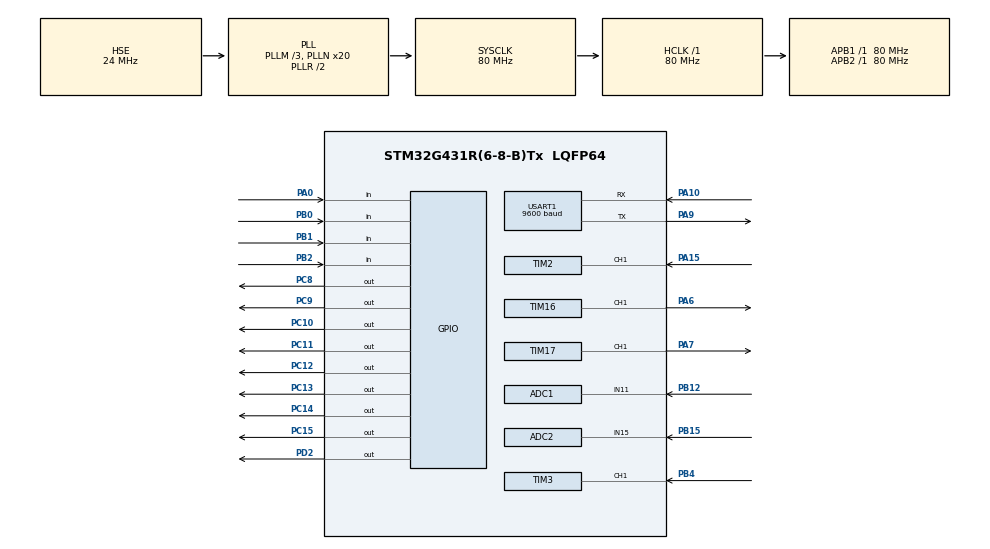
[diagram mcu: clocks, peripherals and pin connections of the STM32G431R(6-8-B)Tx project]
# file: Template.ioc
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ADC1.Channel-0\#ChannelRegularConversion=ADC_CHANNEL_11
ADC1.ClockPrescaler=ADC_CLOCK_SYNC_PCLK_DIV4
ADC1.ContinuousConvMode=ENABLE
ADC1.DMAContinuousRequests=ENABLE
ADC1.NbrOfConversionFlag=1
ADC1.OffsetNumber-0\#ChannelRegularConversion=ADC_OFFSET_NONE
ADC1.Rank-0\#ChannelRegularConversion=1
ADC1.SamplingTime-0\#ChannelRegularConversion=ADC_SAMPLETIME_2CYCLES_5
ADC1.master=1
ADC2.Channel-0\#ChannelRegularConversion=ADC_CHANNEL_15
ADC2.ClockPrescaler=ADC_CLOCK_SYNC_PCLK_DIV4
ADC2.ContinuousConvMode=ENABLE
ADC2.DMAContinuousRequests=ENABLE
ADC2.NbrOfConversionFlag=1
ADC2.OffsetNumber-0\#ChannelRegularConversion=ADC_OFFSET_NONE
ADC2.Rank-0\#ChannelRegularConversion=1
ADC2.SamplingTime-0\#ChannelRegularConversion=ADC_SAMPLETIME_2CYCLES_5
Dma.ADC1.0.Direction=DMA_PERIPH_TO_MEMORY
Dma.ADC1.0.EventEnable=DISABLE
Dma.ADC1.0.Instance=DMA1_Channel2
Dma.ADC1.0.MemDataAlignment=DMA_MDATAALIGN_WORD
Dma.ADC1.0.MemInc=DMA_MINC_ENABLE
Dma.ADC1.0.Mode=DMA_CIRCULAR
Dma.ADC1.0.PeriphDataAlignment=DMA_PDATAALIGN_WORD
Dma.ADC1.0.PeriphInc=DMA_PINC_DISABLE
Dma.ADC1.0.Polarity=HAL_DMAMUX_REQ_GEN_RISING
Dma.ADC1.0.Priority=DMA_PRIORITY_MEDIUM
Dma.ADC1.0.RequestNumber=1
Dma.ADC1.0.SignalID=NONE
Dma.ADC1.0.SyncEnable=DISABLE
Dma.ADC1.0.SyncPolarity=HAL_DMAMUX_SYNC_NO_EVENT
Dma.ADC1.0.SyncRequestNumber=1
Dma.ADC1.0.SyncSignalID=NONE
Dma.ADC2.1.Direction=DMA_PERIPH_TO_MEMORY
Dma.ADC2.1.EventEnable=DISABLE
Dma.ADC2.1.Instance=DMA1_Channel3
Dma.ADC2.1.MemDataAlignment=DMA_MDATAALIGN_WORD
Dma.ADC2.1.MemInc=DMA_MINC_ENABLE
Dma.ADC2.1.Mode=DMA_CIRCULAR
Dma.ADC2.1.PeriphDataAlignment=DMA_PDATAALIGN_WORD
Dma.ADC2.1.PeriphInc=DMA_PINC_DISABLE
Dma.ADC2.1.Polarity=HAL_DMAMUX_REQ_GEN_RISING
Dma.ADC2.1.Priority=DMA_PRIORITY_MEDIUM
Dma.ADC2.1.RequestNumber=1
Dma.ADC2.1.SignalID=NONE
Dma.ADC2.1.SyncEnable=DISABLE
Dma.ADC2.1.SyncPolarity=HAL_DMAMUX_SYNC_NO_EVENT
Dma.ADC2.1.SyncRequestNumber=1
Dma.ADC2.1.SyncSignalID=NONE
Dma.Request0=ADC1
Dma.Request1=ADC2
Dma.Request2=USART1_RX
Dma.Request3=TIM3_CH1
Dma.Request4=TIM2_CH1
Dma.TIM2_CH1.4.Direction=DMA_PERIPH_TO_MEMORY
Dma.TIM2_CH1.4.EventEnable=DISABLE
Dma.TIM2_CH1.4.Instance=DMA1_Channel5
Dma.TIM2_CH1.4.MemDataAlignment=DMA_MDATAALIGN_WORD
Dma.TIM2_CH1.4.MemInc=DMA_MINC_ENABLE
Dma.TIM2_CH1.4.Mode=DMA_CIRCULAR
Dma.TIM2_CH1.4.PeriphDataAlignment=DMA_PDATAALIGN_WORD
Dma.TIM2_CH1.4.PeriphInc=DMA_PINC_DISABLE
Dma.TIM2_CH1.4.Polarity=HAL_DMAMUX_REQ_GEN_RISING
Dma.TIM2_CH1.4.Priority=DMA_PRIORITY_LOW
Dma.TIM2_CH1.4.RequestNumber=1
Dma.TIM2_CH1.4.SignalID=NONE
Dma.TIM2_CH1.4.SyncEnable=DISABLE
Dma.TIM2_CH1.4.SyncPolarity=HAL_DMAMUX_SYNC_NO_EVENT
Dma.TIM2_CH1.4.SyncRequestNumber=1
Dma.TIM2_CH1.4.SyncSignalID=NONE
Dma.TIM3_CH1.3.Direction=DMA_PERIPH_TO_MEMORY
Dma.TIM3_CH1.3.EventEnable=DISABLE
Dma.TIM3_CH1.3.Instance=DMA1_Channel4
Dma.TIM3_CH1.3.MemDataAlignment=DMA_MDATAALIGN_WORD
Dma.TIM3_CH1.3.MemInc=DMA_MINC_ENABLE
Dma.TIM3_CH1.3.Mode=DMA_CIRCULAR
Dma.TIM3_CH1.3.PeriphDataAlignment=DMA_PDATAALIGN_WORD
Dma.TIM3_CH1.3.PeriphInc=DMA_PINC_DISABLE
Dma.TIM3_CH1.3.Polarity=HAL_DMAMUX_REQ_GEN_RISING
Dma.TIM3_CH1.3.Priority=DMA_PRIORITY_LOW
Dma.TIM3_CH1.3.RequestNumber=1
Dma.TIM3_CH1.3.SignalID=NONE
Dma.TIM3_CH1.3.SyncEnable=DISABLE
Dma.TIM3_CH1.3.SyncPolarity=HAL_DMAMUX_SYNC_NO_EVENT
Dma.TIM3_CH1.3.SyncRequestNumber=1
Dma.TIM3_CH1.3.SyncSignalID=NONE
Dma.USART1_RX.2.Direction=DMA_PERIPH_TO_MEMORY
Dma.USART1_RX.2.EventEnable=DISABLE
Dma.USART1_RX.2.Instance=DMA1_Channel1
Dma.USART1_RX.2.MemDataAlignment=DMA_MDATAALIGN_BYTE
Dma.USART1_RX.2.MemInc=DMA_MINC_ENABLE
Dma.USART1_RX.2.Mode=DMA_NORMAL
Dma.USART1_RX.2.PeriphDataAlignment=DMA_PDATAALIGN_BYTE
Dma.USART1_RX.2.PeriphInc=DMA_PINC_DISABLE
Dma.USART1_RX.2.Polarity=HAL_DMAMUX_REQ_GEN_RISING
Dma.USART1_RX.2.Priority=DMA_PRIORITY_HIGH
Dma.USART1_RX.2.RequestNumber=1
Dma.USART1_RX.2.SignalID=NONE
Dma.USART1_RX.2.SyncEnable=DISABLE
Dma.USART1_RX.2.SyncPolarity=HAL_DMAMUX_SYNC_NO_EVENT
Dma.USART1_RX.2.SyncRequestNumber=1
Dma.USART1_RX.2.SyncSignalID=NONE
Mcu.Family=STM32G4
Mcu.Name=STM32G431R(6-8-B)Tx
Mcu.Package=LQFP64
NVIC.DMA1_Channel1_IRQn=true\:0\:0\:false\:false\:true\:false\:true\:true
NVIC.DMA1_Channel2_IRQn=true\:0\:0\:false\:false\:true\:false\:true\:true
NVIC.DMA1_Channel3_IRQn=true\:0\:0\:false\:false\:true\:false\:true\:true
NVIC.DMA1_Channel4_IRQn=true\:0\:0\:false\:false\:true\:false\:true\:true
NVIC.DMA1_Channel5_IRQn=true\:0\:0\:false\:false\:true\:false\:true\:true
NVIC.PriorityGroup=NVIC_PRIORITYGROUP_4
NVIC.USART1_IRQn=true\:0\:0\:false\:false\:true\:true\:true\:true
PA0.GPIO_PuPd=GPIO_PULLUP
PA0.Signal=GPIO_Input
PA10.Mode=Asynchronous
PA10.Signal=USART1_RX
PA13.Mode=Serial_Wire
PA13.Signal=SYS_JTMS-SWDIO
PA14.Mode=Serial_Wire
PA14.Signal=SYS_JTCK-SWCLK
PA15.Signal=S_TIM2_CH1
PA6.Signal=S_TIM16_CH1
PA7.Signal=S_TIM17_CH1
PA9.Mode=Asynchronous
PA9.Signal=USART1_TX
PB0.GPIO_PuPd=GPIO_PULLUP
PB0.Signal=GPIO_Input
PB1.GPIO_PuPd=GPIO_PULLUP
PB1.Signal=GPIO_Input
PB12.Mode=IN11-Single-Ended
PB12.Signal=ADC1_IN11
PB15.Mode=IN15-Single-Ended
PB15.Signal=ADC2_IN15
PB2.GPIO_PuPd=GPIO_PULLUP
PB2.Signal=GPIO_Input
PB4.Signal=S_TIM3_CH1
PC10.GPIO_Speed=GPIO_SPEED_FREQ_LOW
PC10.PinState=GPIO_PIN_SET
PC10.Signal=GPIO_Output
PC11.GPIO_Speed=GPIO_SPEED_FREQ_LOW
PC11.PinState=GPIO_PIN_SET
PC11.Signal=GPIO_Output
PC12.GPIO_Speed=GPIO_SPEED_FREQ_LOW
PC12.PinState=GPIO_PIN_SET
PC12.Signal=GPIO_Output
PC13.PinState=GPIO_PIN_SET
PC13.Signal=GPIO_Output
PC14-OSC32_IN.PinState=GPIO_PIN_SET
PC14-OSC32_IN.Signal=GPIO_Output
PC15-OSC32_OUT.PinState=GPIO_PIN_SET
PC15-OSC32_OUT.Signal=GPIO_Output
PC8.GPIO_Speed=GPIO_SPEED_FREQ_LOW
PC8.PinState=GPIO_PIN_SET
PC8.Signal=GPIO_Output
PC9.GPIO_Speed=GPIO_SPEED_FREQ_LOW
PC9.PinState=GPIO_PIN_SET
PC9.Signal=GPIO_Output
PD2.PinState=GPIO_PIN_RESET
PD2.Signal=GPIO_Output
PF0-OSC_IN.Mode=HSE-External-Oscillator
PF0-OSC_IN.Signal=RCC_OSC_IN
PF1-OSC_OUT.Mode=HSE-External-Oscillator
PF1-OSC_OUT.Signal=RCC_OSC_OUT
ProjectManager.HeapSize=0x200
ProjectManager.StackSize=0x400
ProjectManager.TargetToolchain=MDK-ARM V5
RCC.ADC12Freq_Value=80000000
RCC.AHBFreq_Value=80000000
RCC.APB1Freq_Value=80000000
RCC.APB1TimFreq_Value=80000000
RCC.APB2Freq_Value=80000000
RCC.APB2TimFreq_Value=80000000
RCC.CortexFreq_Value=80000000
RCC.EXTERNAL_CLOCK_VALUE=12288000
RCC.HCLKFreq_Value=80000000
RCC.HSE_VALUE=24000000
RCC.HSI48_VALUE=48000000
RCC.HSI_VALUE=16000000
RCC.LSE_VALUE=32768
RCC.PLLM=RCC_PLLM_DIV3
RCC.PLLN=20
RCC.PLLSourceVirtual=RCC_PLLSOURCE_HSE
RCC.RTCClockSelection=RCC_RTCCLKSOURCE_HSE_DIV32
RCC.SYSCLKFreq_VALUE=80000000
RCC.SYSCLKSource=RCC_SYSCLKSOURCE_PLLCLK
RCC.USBFreq_Value=80000000
RCC.VCOOutputFreq_Value=160000000
RTC.AsynchPrediv=125
RTC.Date=21
RTC.Format=RTC_FORMAT_BIN
RTC.Hours=23
RTC.Minutes=59
RTC.Month=RTC_MONTH_FEBRUARY
RTC.Seconds=50
RTC.SynchPrediv=6000
RTC.WeekDay=RTC_WEEKDAY_FRIDAY
RTC.Year=25
SH.S_TIM16_CH1.0=TIM16_CH1,PWM Generation1 CH1
SH.S_TIM17_CH1.0=TIM17_CH1,PWM Generation1 CH1
SH.S_TIM2_CH1.0=TIM2_CH1,TriggerSource_TI1FP1
SH.S_TIM2_CH1.1=TIM2_CH1,Input_Capture1_from_TI1
SH.S_TIM3_CH1.0=TIM3_CH1,Input_Capture1_from_TI1
SH.S_TIM3_CH1.1=TIM3_CH1,TriggerSource_TI1FP1
TIM16.Channel=TIM_CHANNEL_1
TIM16.PeriodNoDither=1000-1
TIM16.Prescaler=80-1
TIM16.PulseNoDither_1=500
TIM17.Channel=TIM_CHANNEL_1
TIM17.PeriodNoDither=1000-1
TIM17.Prescaler=80-1
TIM17.PulseNoDither_1=500
TIM2.Channel-Input_Capture1_from_TI1=TIM_CHANNEL_1
TIM2.PeriodNoDither=65535
TIM2.Prescaler=80-1
TIM3.Channel-Input_Capture1_from_TI1=TIM_CHANNEL_1
TIM3.Prescaler=80-1
USART1.BaudRate=9600
USART1.VirtualMode-Asynchronous=VM_ASYNC
VP_RTC_VS_RTC_Activate.Mode=RTC_Enabled
VP_RTC_VS_RTC_Calendar.Mode=RTC_Calendar
VP_SYS_VS_DBSignals.Mode=DisableDeadBatterySignals
VP_TIM16_VS_ClockSourceINT.Mode=Enable_Timer
VP_TIM17_VS_ClockSourceINT.Mode=Enable_Timer
VP_TIM2_VS_ClockSourceINT.Mode=Internal
VP_TIM2_VS_ControllerModeReset.Mode=Reset Mode
VP_TIM3_VS_ClockSourceINT.Mode=Internal
VP_TIM3_VS_ControllerModeReset.Mode=Reset Mode
board=custom

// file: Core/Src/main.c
/* USER CODE BEGIN Header */
/**
  ******************************************************************************
  * @file           : main.c
  * @brief          : Main program body
  ******************************************************************************
  * @attention
  *
  * Copyright (c) 2024 STMicroelectronics.
  * All rights reserved.
  *
  * This software is licensed under terms that can be found in the LICENSE file
  * in the root directory of this software component.
  * If no LICENSE file comes with this software, it is provided AS-IS.
  *
  ******************************************************************************
  */
/* USER CODE END Header */
#include "main.h"
#include "adc.h"
#include "dma.h"
#include "rtc.h"
#include "tim.h"
#include "usart.h"
#include "gpio.h"

/* USER CODE BEGIN Includes */
#include "bsp_system.h"
/* USER CODE END Includes */

void SystemClock_Config(void);

int main(void)
{

  /* MCU Configuration--------------------------------------------------------*/

  /* Reset of all peripherals, Initializes the Flash interface and the Systick. */
  HAL_Init();

  /* Configure the system clock */
  SystemClock_Config();

  /* Initialize all configured peripherals */
  MX_GPIO_Init();
  MX_DMA_Init();
  MX_USART1_UART_Init();
  MX_ADC1_Init();
  MX_ADC2_Init();
  MX_RTC_Init();
  MX_TIM16_Init();
  MX_TIM17_Init();
  MX_TIM3_Init();
  MX_TIM2_Init();
  /* USER CODE BEGIN 2 */
  HAL_UART_Receive_IT(&huart1, uart_rx_buffer, 1);        // 使能串口接收中断
  HAL_ADCEx_Calibration_Start(&hadc1, ADC_SINGLE_ENDED);  // ADC1 校准
  HAL_ADCEx_Calibration_Start(&hadc2, ADC_SINGLE_ENDED);  // ADC2 校准
  HAL_ADC_Start_DMA(&hadc1, (uint32_t *)&adc_dma_buffer[0][0], 50); // ADC1(PB12-R38) 进行 DMA 采集
  HAL_ADC_Start_DMA(&hadc2, (uint32_t *)&adc_dma_buffer[1][0], 50); // ADC2(PB15-R37) 进行 DMA 采集
  HAL_TIM_IC_Start_DMA(&htim2,TIM_CHANNEL_1,&tim_ic_buffer[0][0],64);      // TIM2(PB-R39) 进行DMA采集
  HAL_TIM_IC_Start_DMA(&htim3,TIM_CHANNEL_1,&tim_ic_buffer[1][0],64);      // TIM3(PA15-R40) 进行DMA采集
  HAL_TIM_PWM_Start(&htim16, TIM_CHANNEL_1);              // TIM16 输出PWM
  HAL_TIM_PWM_Start(&htim17, TIM_CHANNEL_1);              // TIM17 输出PWM

  LCD_Init();                   // LCD 初始化
  LCD_Clear(Black);             // 清屏
  LCD_SetTextColor(White);      // 设置输出文本颜色
  LCD_SetBackColor(Black);      // 设置输出背景颜色
  scheduler_init();             // 调度器初始化
  /* USER CODE END 2 */

  /* Infinite loop */
  while (1)
  {

    /* USER CODE BEGIN 3 */
    scheduler_run();           // 调度器运行
  }
  /* USER CODE END 3 */
}

void SystemClock_Config(void)
{
  RCC_OscInitTypeDef RCC_OscInitStruct = {0};
  RCC_ClkInitTypeDef RCC_ClkInitStruct = {0};

  /** Configure the main internal regulator output voltage
  */
  HAL_PWREx_ControlVoltageScaling(PWR_REGULATOR_VOLTAGE_SCALE1);

  /** Initializes the RCC Oscillators according to the specified parameters
  * in the RCC_OscInitTypeDef structure.
  */
  RCC_OscInitStruct.OscillatorType = RCC_OSCILLATORTYPE_HSE;
  RCC_OscInitStruct.HSEState = RCC_HSE_ON;
  RCC_OscInitStruct.PLL.PLLState = RCC_PLL_ON;
  RCC_OscInitStruct.PLL.PLLSource = RCC_PLLSOURCE_HSE;
  RCC_OscInitStruct.PLL.PLLM = RCC_PLLM_DIV3;
  RCC_OscInitStruct.PLL.PLLN = 20;
  RCC_OscInitStruct.PLL.PLLP = RCC_PLLP_DIV2;
  RCC_OscInitStruct.PLL.PLLQ = RCC_PLLQ_DIV2;
  RCC_OscInitStruct.PLL.PLLR = RCC_PLLR_DIV2;
  if (HAL_RCC_OscConfig(&RCC_OscInitStruct) != HAL_OK)
  {
    Error_Handler();
  }

  /** Initializes the CPU, AHB and APB buses clocks
  */
  RCC_ClkInitStruct.ClockType = RCC_CLOCKTYPE_HCLK|RCC_CLOCKTYPE_SYSCLK
                              |RCC_CLOCKTYPE_PCLK1|RCC_CLOCKTYPE_PCLK2;
  RCC_ClkInitStruct.SYSCLKSource = RCC_SYSCLKSOURCE_PLLCLK;
  RCC_ClkInitStruct.AHBCLKDivider = RCC_SYSCLK_DIV1;
  RCC_ClkInitStruct.APB1CLKDivider = RCC_HCLK_DIV1;
  RCC_ClkInitStruct.APB2CLKDivider = RCC_HCLK_DIV1;

  if (HAL_RCC_ClockConfig(&RCC_ClkInitStruct, FLASH_LATENCY_2) != HAL_OK)
  {
    Error_Handler();
  }
}

void Error_Handler(void)
{
  __disable_irq();
  while (1)
  {
  }
}
